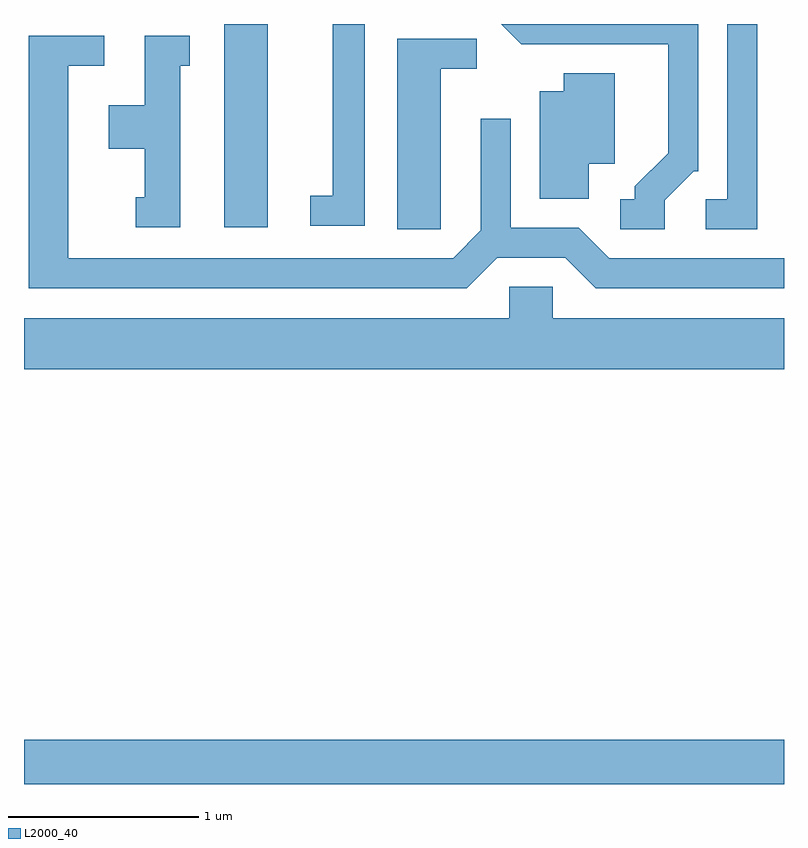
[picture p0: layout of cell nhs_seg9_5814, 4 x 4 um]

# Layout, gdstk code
import gdstk
lib = gdstk.Library(unit=1e-6, precision=1e-09)
def R(c, l, rs):  # rectangles x0, y0, x1, y1
    for r in rs: c.add(gdstk.rectangle(r[:2], r[2:], *l))
def P(c, l, *ps):  # polygons
    for p in ps: c.add(gdstk.Polygon(p, *l))
L2000_40 = (2000, 40)

nhs_seg9_5814 = lib.new_cell('nhs_seg9_5814')
R(nhs_seg9_5814, L2000_40, [(355.611,2078.432,359.611,2078.664), (356.666,2081.361,356.894,2082.432)])
P(nhs_seg9_5814, L2000_40, [(359.469,2082.432),(359.311,2082.432),(359.311,2081.509),(359.198,2081.509),(359.198,2081.351),(359.469,2081.351)],
  [(357.404,2082.432),(357.236,2082.432),(357.236,2081.529),(357.118,2081.529),(357.118,2081.371),(357.404,2081.371)],
  [(358.984,2081.504),(359.137,2081.656),(359.159,2081.656),(359.159,2082.432),(358.123,2082.432),(358.229,2082.326),(359.001,2082.326),(359.001,2081.751),(358.826,2081.577),(358.826,2081.509),(358.748,2081.509),(358.748,2081.351),(358.984,2081.351)],
  [(356.434,2082.211),(356.483,2082.211),(356.483,2082.369),(356.246,2082.369),(356.246,2082.004),(356.056,2082.004),(356.056,2081.776),(356.246,2081.776),(356.246,2081.519),(356.198,2081.519),(356.198,2081.361),(356.434,2081.361)],
  [(358.102,2081.201),(358.459,2081.201),(358.619,2081.041),(359.611,2081.041),(359.611,2081.199),(358.692,2081.199),(358.532,2081.359),(358.174,2081.359),(358.174,2081.933),(358.016,2081.933),(358.016,2081.347),(357.869,2081.199),(355.844,2081.199),(355.844,2082.211),(356.033,2082.211),(356.033,2082.369),(355.636,2082.369),(355.636,2081.041),(357.942,2081.041)],
  [(357.804,2082.196),(357.993,2082.196),(357.993,2082.354),(357.576,2082.354),(357.576,2081.351),(357.804,2081.351)],
  [(358.584,2081.696),(358.719,2081.696),(358.719,2082.174),(358.451,2082.174),(358.451,2082.079),(358.326,2082.079),(358.326,2081.511),(358.584,2081.511)],
  [(359.611,2080.884),(358.394,2080.884),(358.394,2081.049),(358.166,2081.049),(358.166,2080.884),(355.611,2080.884),(355.611,2080.616),(359.611,2080.616)])

lib.write_gds('nhs_seg9_5814.gds')
